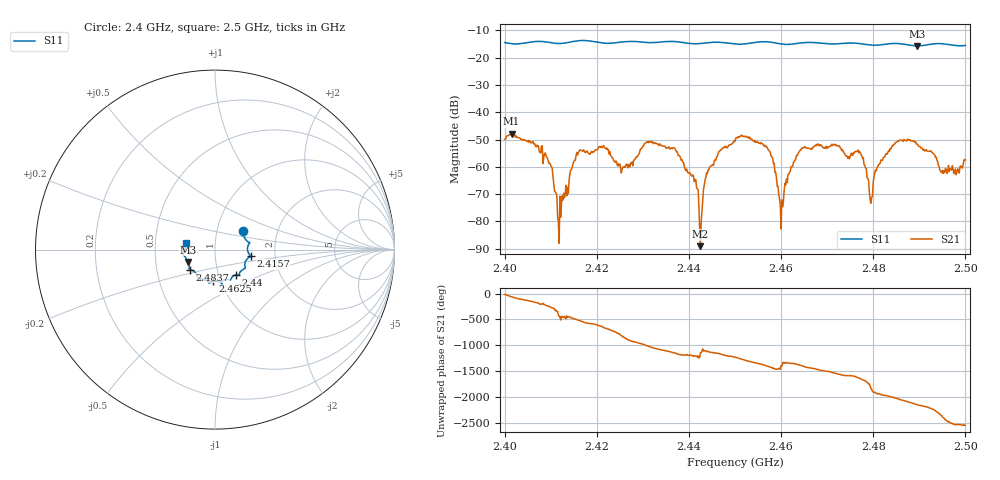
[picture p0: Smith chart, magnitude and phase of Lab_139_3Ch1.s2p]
# Hz S RI R 50
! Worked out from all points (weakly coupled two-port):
!   601 points, 2.4 GHz to 2.5 GHz, reference 50 ohm
!   highest |S21| = -47.86 dB at 2.4015 GHz (marker M1); lowest = -89.1 dB at 2.4425 GHz (marker M2)
!   lowest |S11| = -15.7 dB at 2.4895 GHz (marker M3), VSWR 1.39, Z = 36.8 - j5.17 ohm
!   |S11| at or under -10 dB: start of sweep to end of sweep
!   S12 and S22 are empty: the file has one direction only
!   S11 on the Smith chart (normalised r, x): 2.4 GHz: 1.33, +0.29; 2.4157 GHz: 1.49, -0.11; 2.44 GHz: 1.21, -0.35; 2.4625 GHz: 0.92, -0.34; 2.4837 GHz: 0.74, -0.17; 2.5 GHz: 0.72, +0.05
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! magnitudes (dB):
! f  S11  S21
! 2.4 GHz  -14.5  -50.0
! 2.4015 GHz  -14.9  -47.9
! 2.4092 GHz  -14.3  -56.7
! 2.4118 GHz  -14.9  -88.0
! 2.4157 GHz  -13.9  -54.7
! 2.4167 GHz  -13.8  -54.0
! 2.4257 GHz  -14.3  -60.1
! 2.4333 GHz  -14.4  -51.9
! 2.44 GHz  -14.8  -62.1
! 2.4425 GHz  -14.9  -89.1
! 2.4443 GHz  -14.5  -61.0
! 2.45 GHz  -15.0  -50.7
! 2.4572 GHz  -14.2  -53.7
! 2.46 GHz  -15.0  -82.8
! 2.4625 GHz  -15.0  -60.0
! 2.4667 GHz  -14.5  -53.6
! 2.477 GHz  -14.9  -54.3
! 2.4795 GHz  -15.4  -73.3
! 2.4833 GHz  -15.0  -54.1
! 2.4837 GHz  -14.9  -53.3
! 2.4895 GHz  -15.7  -51.6
! 2.5 GHz  -15.6  -57.5
